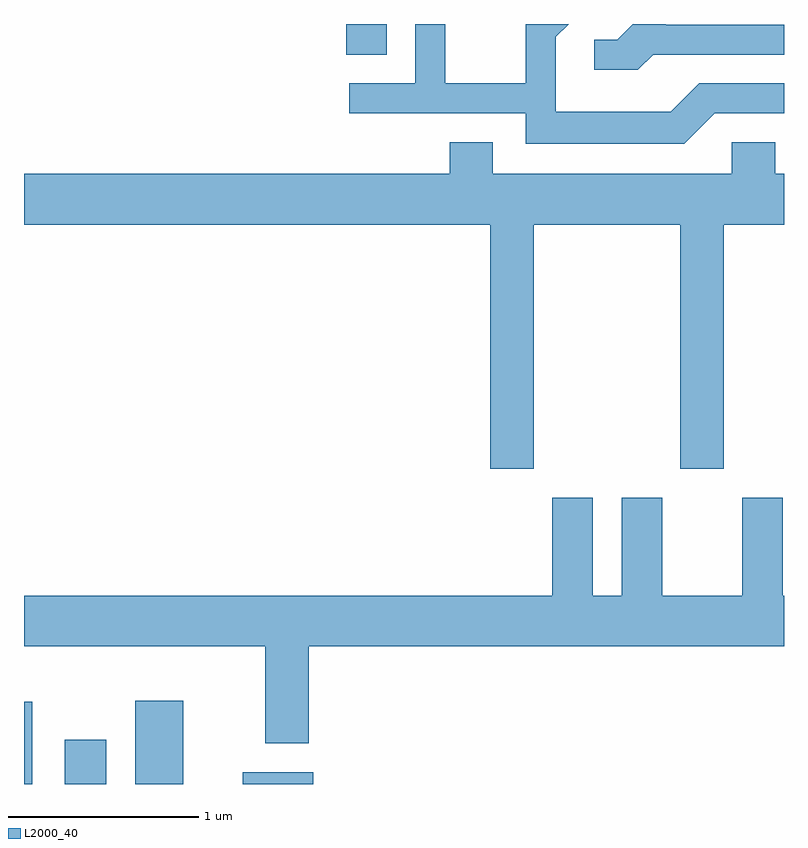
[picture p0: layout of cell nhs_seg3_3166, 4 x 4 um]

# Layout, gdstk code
import gdstk
lib = gdstk.Library(unit=1e-6, precision=1e-09)
def R(c, l, rs):  # rectangles x0, y0, x1, y1
    for r in rs: c.add(gdstk.rectangle(r[:2], r[2:], *l))
def P(c, l, *ps):  # polygons
    for p in ps: c.add(gdstk.Polygon(p, *l))
L2000_40 = (2000, 40)

nhs_seg3_3166 = lib.new_cell('nhs_seg3_3166')
R(nhs_seg3_3166, L2000_40, [(277.611,1191.892,277.654,1192.324), (277.826,1191.892,278.044,1192.124), (278.196,1191.892,278.449,1192.329), (278.761,1191.892,279.134,1191.954), (279.306,1195.731,279.519,1195.892)])
P(nhs_seg3_3166, L2000_40, [(281.247,1195.421),(281.611,1195.421),(281.611,1195.579),(281.164,1195.579),(281.014,1195.429),(280.409,1195.429),(280.409,1195.824),(280.477,1195.892),(280.251,1195.892),(280.251,1195.579),(279.829,1195.579),(279.829,1195.892),(279.671,1195.892),(279.671,1195.579),(279.323,1195.579),(279.323,1195.421),(280.251,1195.421),(280.251,1195.261),(281.087,1195.261)],
  [(280.922,1195.731),(281.611,1195.731),(281.611,1195.889),(280.989,1195.889),(280.989,1195.892),(280.816,1195.892),(280.734,1195.809),(280.613,1195.809),(280.613,1195.651),(280.842,1195.651)],
  [(280.294,1194.836),(281.066,1194.836),(281.066,1193.551),(281.294,1193.551),(281.294,1194.836),(281.611,1194.836),(281.611,1195.104),(281.564,1195.104),(281.564,1195.269),(281.336,1195.269),(281.336,1195.104),(280.079,1195.104),(280.079,1195.269),(279.851,1195.269),(279.851,1195.104),(277.611,1195.104),(277.611,1194.836),(280.066,1194.836),(280.066,1193.551),(280.294,1193.551)],
  [(279.109,1192.616),(281.611,1192.616),(281.611,1192.884),(281.604,1192.884),(281.604,1193.399),(281.391,1193.399),(281.391,1192.884),(280.969,1192.884),(280.969,1193.399),(280.756,1193.399),(280.756,1192.884),(280.604,1192.884),(280.604,1193.399),(280.391,1193.399),(280.391,1192.884),(277.611,1192.884),(277.611,1192.616),(278.881,1192.616),(278.881,1192.106),(279.109,1192.106)])

lib.write_gds('nhs_seg3_3166.gds')
